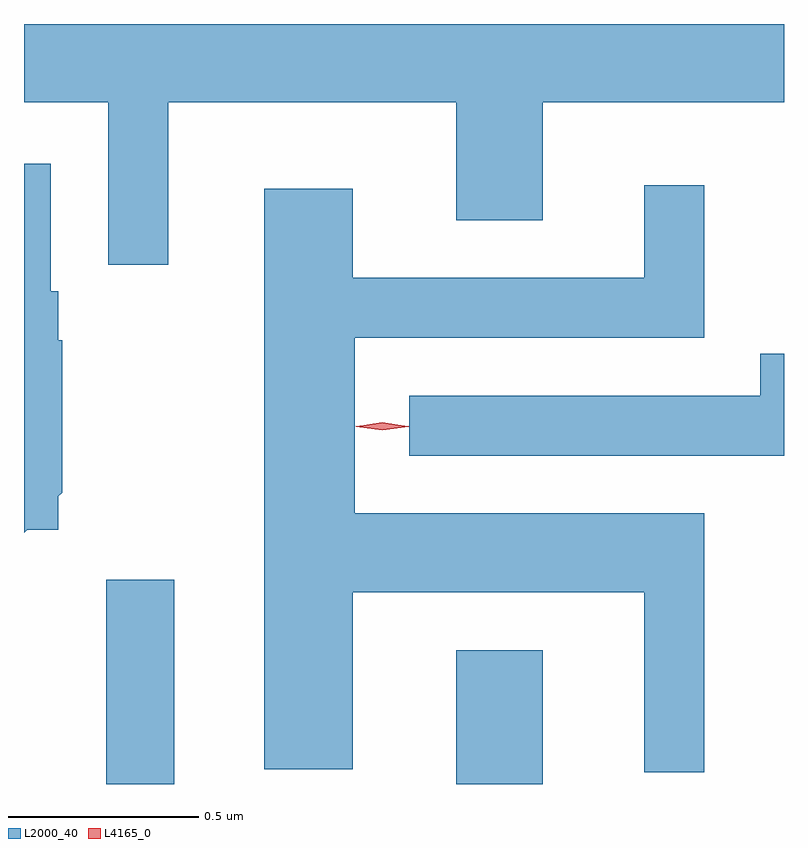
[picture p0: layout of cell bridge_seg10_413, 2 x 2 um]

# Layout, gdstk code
import gdstk
lib = gdstk.Library(unit=1e-6, precision=1e-09)
def R(c, l, rs):  # rectangles x0, y0, x1, y1
    for r in rs: c.add(gdstk.rectangle(r[:2], r[2:], *l))
def P(c, l, *ps):  # polygons
    for p in ps: c.add(gdstk.Polygon(p, *l))
L2000_40 = (2000, 40)
L4165_0 = (4165, 0)

bridge_seg10_413 = lib.new_cell('bridge_seg10_413')
R(bridge_seg10_413, L2000_40, [(1365.211,2109.902,1365.389,2110.439), (1366.131,2109.902,1366.359,2110.254)])
P(bridge_seg10_413, L2000_40, [(1364.994,2111.696),(1365.216,2111.696),(1365.216,2111.268),(1365.374,2111.268),(1365.374,2111.696),(1366.131,2111.696),(1366.131,2111.386),(1366.359,2111.386),(1366.359,2111.696),(1366.994,2111.696),(1366.994,2111.902),(1364.994,2111.902)],
  [(1365.002,2110.571),(1365.084,2110.571),(1365.084,2110.659),(1365.094,2110.669),(1365.094,2111.07),(1365.084,2111.07),(1365.084,2111.199),(1365.064,2111.199),(1365.064,2111.534),(1364.994,2111.534),(1364.994,2110.563)],
  [(1366.784,2110.614),(1365.864,2110.614),(1365.864,2111.076),(1366.784,2111.076),(1366.784,2111.478),(1366.626,2111.478),(1366.626,2111.234),(1365.859,2111.234),(1365.859,2111.469),(1365.626,2111.469),(1365.626,2109.941),(1365.859,2109.941),(1365.859,2110.406),(1366.626,2110.406),(1366.626,2109.933),(1366.784,2109.933)],
  [(1366.994,2111.034),(1366.931,2111.034),(1366.931,2110.924),(1366.008,2110.924),(1366.008,2110.766),(1366.994,2110.766)])
P(bridge_seg10_413, L4165_0, [(1365.937,2110.833),(1365.868,2110.842),(1365.867,2110.843),(1365.868,2110.843),(1365.937,2110.853),(1366.006,2110.843),(1366.006,2110.843),(1366.006,2110.842)],
  [(1365.937,2110.834),(1365.871,2110.843),(1365.87,2110.844),(1365.871,2110.844),(1365.937,2110.854),(1366.002,2110.844),(1366.003,2110.844),(1366.002,2110.843)])

lib.write_gds('bridge_seg10_413.gds')
